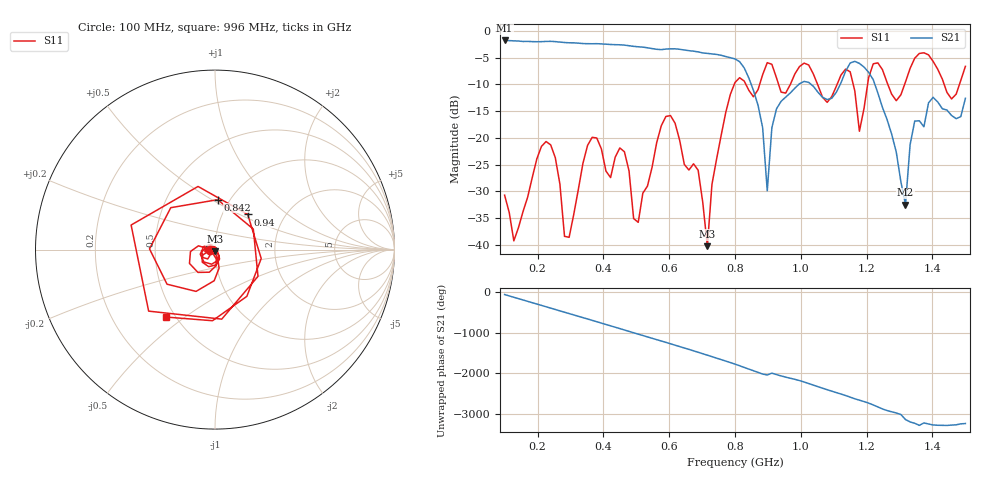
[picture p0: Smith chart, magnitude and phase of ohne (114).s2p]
! NanoVNA-App
! Date: 2025-09-25 17:39:10
! Start: 100MHz Stop: 1,5GHz Points: 101
! S-Parameter data: F S11 S21 S12 S22
# Hz S RI R 50
!  Frequency  S11_Real  S11_Imag  S21_Real  S21_Imag  S12_Real  S12_Imag  S22_Real  S22_Imag
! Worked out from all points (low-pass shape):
!   101 points, 100 MHz to 1.5 GHz, reference 50 ohm
!   highest |S21| = -1.80 dB at 100 MHz (marker M1); lowest = -32.5 dB at 1.318 GHz (marker M2)
!   |S21| within 3 dB of the highest: start of sweep to 771.6 MHz
!   lowest |S11| = -40.2 dB at 716 MHz (marker M3), VSWR 1.02, Z = 49.8 - j0.959 ohm
!   |S11| at or under -10 dB: start of sweep to 797.7 MHz; 833 MHz to 875 MHz (41.93 MHz wide, 4.91 % of centre); 1.051 GHz to 1.11 GHz (59.37 MHz wide, 5.49 % of centre)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
!   S12 and S22 are empty: the file has one direction only
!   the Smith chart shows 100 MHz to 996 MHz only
!   S11 on the Smith chart (normalised r, x): 100 MHz: 0.94, -0.01; 842 MHz: 0.88, +0.53; 940 MHz: 1.31, +0.55; 996 MHz: 0.45, -0.43
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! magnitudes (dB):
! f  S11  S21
! 100 MHz  -30.7  -1.8
! 128 MHz  -39.2  -1.9
! 226 MHz  -20.7  -2.0
! 296 MHz  -38.6  -2.2
! 338 MHz  -24.7  -2.4
! 464 MHz  -22.6  -2.7
! 506 MHz  -35.8  -3.0
! 576 MHz  -17.7  -3.5
! 688 MHz  -26.0  -3.9
! 716 MHz  -40.2  -4.2
! 800 MHz  -9.6  -5.2
! 842 MHz  -11.1  -8.8
! 898 MHz  -5.9  -29.9
! 940 MHz  -11.4  -13.2
! 996 MHz  -6.7  -9.9
! 1.038 GHz  -8.1  -10.4
! 1.178 GHz  -18.8  -6.1
! 1.22 GHz  -6.2  -9.1
! 1.276 GHz  -11.8  -19.3
! 1.318 GHz  -9.5  -32.5
! 1.346 GHz  -5.1  -16.9
! 1.5 GHz  -6.6  -12.6
